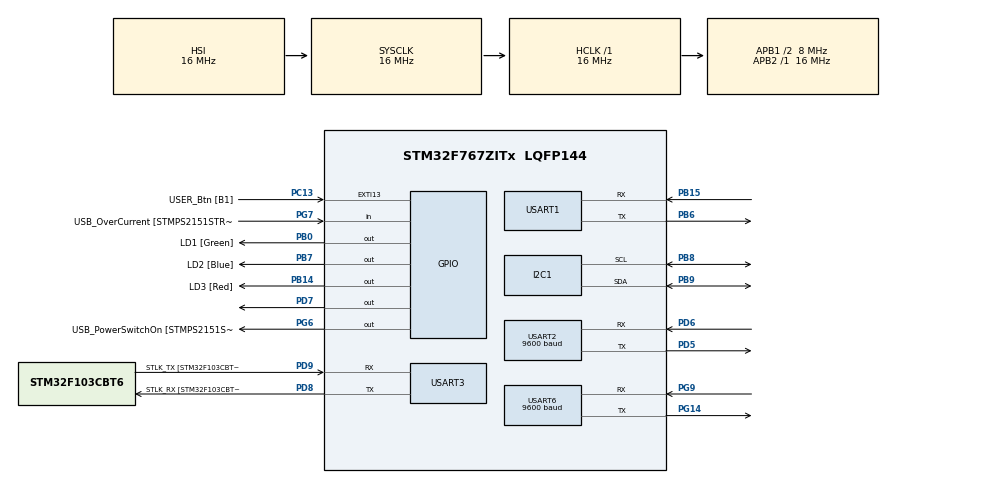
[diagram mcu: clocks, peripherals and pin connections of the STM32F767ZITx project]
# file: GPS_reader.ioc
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I2C1.Timing=0x2000090E
Mcu.Family=STM32F7
Mcu.Name=STM32F767ZITx
Mcu.Package=LQFP144
NVIC.PriorityGroup=NVIC_PRIORITYGROUP_4
NVIC.USART2_IRQn=true\:0\:0\:false\:false\:true\:true\:true\:true
NVIC.USART6_IRQn=true\:0\:0\:false\:false\:true\:true\:true\:true
PA1.GPIO_Label=RMII_REF_CLK [LAN8742A-CZ-TR_REFCLK0]
PA1.Signal=ETH_REF_CLK
PA10.GPIO_Label=USB_ID
PA10.Signal=USB_OTG_FS_ID
PA11.GPIO_Label=USB_DM
PA11.Signal=USB_OTG_FS_DM
PA12.GPIO_Label=USB_DP
PA12.Signal=USB_OTG_FS_DP
PA13.GPIO_Label=TMS
PA13.Signal=SYS_JTMS-SWDIO
PA14.GPIO_Label=TCK
PA14.Signal=SYS_JTCK-SWCLK
PA2.GPIO_Label=RMII_MDIO [LAN8742A-CZ-TR_MDIO]
PA2.Signal=ETH_MDIO
PA7.GPIO_Label=RMII_CRS_DV [LAN8742A-CZ-TR_CRS_DV]
PA7.Signal=ETH_CRS_DV
PA8.GPIO_Label=USB_SOF [TP1]
PA8.Signal=USB_OTG_FS_SOF
PA9.GPIO_Label=USB_VBUS
PA9.Signal=USB_OTG_FS_VBUS
PB0.GPIO_Label=LD1 [Green]
PB0.Signal=GPIO_Output
PB13.GPIO_Label=RMII_TXD1 [LAN8742A-CZ-TR_TXD1]
PB13.Signal=ETH_TXD1
PB14.GPIO_Label=LD3 [Red]
PB14.Signal=GPIO_Output
PB15.Mode=Asynchronous
PB15.Signal=USART1_RX
PB3.GPIO_Label=SW0
PB3.Signal=SYS_JTDO-SWO
PB6.Mode=Asynchronous
PB6.Signal=USART1_TX
PB7.GPIO_Label=LD2 [Blue]
PB7.Signal=GPIO_Output
PB8.Mode=I2C
PB8.Signal=I2C1_SCL
PB9.Mode=I2C
PB9.Signal=I2C1_SDA
PC1.GPIO_Label=RMII_MDC [LAN8742A-CZ-TR_MDC]
PC1.Signal=ETH_MDC
PC10.Signal=UART4_TX
PC11.Signal=UART4_RX
PC13.GPIO_Label=USER_Btn [B1]
PC13.Signal=GPXTI13
PC14/OSC32_IN.Signal=RCC_OSC32_IN
PC15/OSC32_OUT.Signal=RCC_OSC32_OUT
PC4.GPIO_Label=RMII_RXD0 [LAN8742A-CZ-TR_RXD0]
PC4.Signal=ETH_RXD0
PC5.GPIO_Label=RMII_RXD1 [LAN8742A-CZ-TR_RXD1]
PC5.Signal=ETH_RXD1
PD5.Mode=Asynchronous
PD5.Signal=USART2_TX
PD6.Mode=Asynchronous
PD6.Signal=USART2_RX
PD7.Signal=GPIO_Output
PD8.GPIO_Label=STLK_RX [STM32F103CBT6_PA3]
PD8.Mode=Asynchronous
PD8.Signal=USART3_TX
PD9.GPIO_Label=STLK_TX [STM32F103CBT6_PA2]
PD9.Mode=Asynchronous
PD9.Signal=USART3_RX
PG11.GPIO_Label=RMII_TX_EN [LAN8742A-CZ-TR_TXEN]
PG11.Signal=ETH_TX_EN
PG13.GPIO_Label=RMII_TXD0 [LAN8742A-CZ-TR_TXD0]
PG13.Signal=ETH_TXD0
PG14.GPIO_PuPd=GPIO_PULLUP
PG14.Mode=Asynchronous
PG14.Signal=USART6_TX
PG6.GPIO_Label=USB_PowerSwitchOn [STMPS2151STR_EN]
PG6.Signal=GPIO_Output
PG7.GPIO_Label=USB_OverCurrent [STMPS2151STR_FAULT]
PG7.Signal=GPIO_Input
PG9.GPIO_PuPd=GPIO_PULLUP
PG9.Mode=Asynchronous
PG9.Signal=USART6_RX
PH0/OSC_IN.GPIO_Label=MCO [STM32F103CBT6_PA8]
PH0/OSC_IN.Signal=RCC_OSC_IN
PH1/OSC_OUT.Signal=RCC_OSC_OUT
ProjectManager.HeapSize=0x200
ProjectManager.StackSize=0x400
ProjectManager.TargetToolchain=STM32CubeIDE
RCC.48MHZClocksFreq_Value=24000000
RCC.AHBFreq_Value=16000000
RCC.APB1CLKDivider=RCC_HCLK_DIV2
RCC.APB1Freq_Value=8000000
RCC.APB1TimFreq_Value=16000000
RCC.APB2Freq_Value=16000000
RCC.APB2TimFreq_Value=16000000
RCC.CortexFreq_Value=16000000
RCC.HCLKFreq_Value=16000000
RCC.HSE_VALUE=16000000
RCC.HSI_VALUE=16000000
RCC.LSE_VALUE=32768
RCC.PLLMUL=RCC_PLL_MUL9
RCC.PRESCALERUSB=RCC_USBCLKSOURCE_PLL_DIV1_5
RCC.SYSCLKFreq_VALUE=16000000
RCC.SYSCLKSourceVirtual=RCC_SYSCLKSOURCE_PLLCLK
RCC.USBFreq_Value=96000000
RCC.VCOOutputFreq_Value=192000000
USART1.VirtualMode-Asynchronous=VM_ASYNC
USART2.BaudRate=9600
USART2.VirtualMode-Asynchronous=VM_ASYNC
USART3.VirtualMode-Asynchronous=VM_ASYNC
USART6.BaudRate=9600
USART6.VirtualMode-Asynchronous=VM_ASYNC
board=NUCLEO-F767ZI

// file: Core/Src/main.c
/* USER CODE BEGIN Header */
/**
  ******************************************************************************
  * @file           : main.c
  * @brief          : Main program body
  ******************************************************************************
  * @attention
  *
  * Copyright (c) 2026 STMicroelectronics.
  * All rights reserved.
  *
  * This software is licensed under terms that can be found in the LICENSE file
  * in the root directory of this software component.
  * If no LICENSE file comes with this software, it is provided AS-IS.
  *
  ******************************************************************************
  */
/* USER CODE END Header */
#include "main.h"

/* USER CODE BEGIN Includes */
#include "string.h"
#include "stdlib.h"
#include "stdio.h"
/* USER CODE END Includes */

/* USER CODE BEGIN PTD */
typedef struct {
    double latitude;
    double longitude;
    float  speed_kmh;
    int    satellites;
    int    fix_valid;
} GNSS_Data_t;

GNSS_Data_t gnss_data;
/* USER CODE END PTD */

/* USER CODE BEGIN PD */
#define NMEA_MAX_LEN 128

#define IMU_ADDR (0x6B << 1)
/* USER CODE END PD */

I2C_HandleTypeDef hi2c1;

UART_HandleTypeDef huart1;
UART_HandleTypeDef huart2;
UART_HandleTypeDef huart3;
UART_HandleTypeDef huart6;

/* USER CODE BEGIN PV */
uint8_t rx_byte_gps; // Il singolo byte che riceveremo

uint8_t g_gnss_byte; // Singolo byte ricevuto
char nmea_buffer[NMEA_MAX_LEN];
uint8_t idx = 0;
int debug = 0;

uint8_t data[6];
int16_t x, y, z = 90;

/* USER CODE END PV */

void SystemClock_Config(void);
static void MX_GPIO_Init(void);
static void MX_USART3_UART_Init(void);
static void MX_USART6_UART_Init(void);
static void MX_USART1_UART_Init(void);
static void MX_USART2_UART_Init(void);
static void MX_I2C1_Init(void);

/* USER CODE BEGIN 0 */
float convert_to_decimal(char *coord, char dir)
{
    float val = atof(coord);

    int degrees = (int)(val / 100);
    float minutes = val - (degrees * 100);

    float decimal = degrees + (minutes / 60.0);

    if (dir == 'S' || dir == 'W')
        decimal = -decimal;

    return decimal;
}
double latitude = 0.0;
double longitude = 0.0;
float  speed_kmh = 0.0;
float  altitude = 0.0;
int    satellites = 0;

// Funzione interna per estrarre i campi senza rompere nulla
static const char* get_field(const char* p, int field_num) {
    for (int i = 0; i < field_num && p; i++) {
        p = strchr(p, ',');
        if (p) p++;
    }
    return p;
}

void parse_nmea(char *sentence) {
    if (sentence[0] != '$') return;

    // --- PARSING GGA (Satelliti) ---
    if (strstr(sentence, "GGA")) {
        int comma = 0;
        for (char *p = sentence; *p != '\0'; p++) {
            if (*p == ',') {
                comma++;
                char *data = p + 1;

                if (comma == 7) { // Numero satelliti
                    satellites = (int)strtol(data, NULL, 10);
                }
                if (comma == 9) { // Altitudine (Metri sul livello del mare)
                    if (*data != ',') {
                        altitude = strtof(data, NULL);
                    }
                    break; // Possiamo uscire dal ciclo
                }
            }
        }
    }

    // --- PARSING RMC (Lat, Lon, Speed) ---
    if (strstr(sentence, "RMC")) {
        int comma = 0;
        for (char *p = sentence; *p != '\0'; p++) {
            if (*p == ',') {
                comma++;
                char *data = p + 1;
                switch (comma) {
                    case 2: if (*data == 'V') return; break;
                    case 3: if (*data != ',') {
                                double raw = strtod(data, NULL);
                                int deg = (int)(raw / 100);
                                latitude = deg + (raw - deg * 100) / 60.0;
                            } break;
                    case 4: if (*data == 'S') latitude = -latitude; break;
                    case 5: if (*data != ',') {
                                double raw = strtod(data, NULL);
                                int deg = (int)(raw / 100);
                                longitude = deg + (raw - deg * 100) / 60.0;
                            } break;
                    case 6: if (*data == 'W') longitude = -longitude; break;
                    case 7: if (*data != ',') speed_kmh = (float)strtod(data, NULL) * 1.85f; break;
                }
            }
        }
    }
    // NOTA: Ho tolto tutte le sprintf e HAL_UART_Transmit da qui!
}
/* USER CODE END 0 */

int main(void)
{

  /* USER CODE BEGIN 1 */

	HAL_Init();
	  SystemClock_Config();

	  // 1. PRIMA di MX_GPIO_Init e MX_USART6_Init
	  // Forza PG14 in INPUT senza pull-up (Alta Impedenza)
	  __HAL_RCC_GPIOG_CLK_ENABLE();
	  GPIO_InitTypeDef GPIO_InitStruct = {0};
	  GPIO_InitStruct.Pin = GPIO_PIN_14;
	  GPIO_InitStruct.Mode = GPIO_MODE_INPUT;
	  GPIO_InitStruct.Pull = GPIO_NOPULL;
	  HAL_GPIO_Init(GPIOG, &GPIO_InitStruct);

	  // 2. ASPETTA. Dai al GNSS il tempo di finire il boot elettrico
	  HAL_Delay(3000);

  /* USER CODE END 1 */

  /* MCU Configuration--------------------------------------------------------*/

  /* Reset of all peripherals, Initializes the Flash interface and the Systick. */
  HAL_Init();

  /* Configure the system clock */
  SystemClock_Config();

  /* Initialize all configured peripherals */
  MX_GPIO_Init();
  MX_USART3_UART_Init();
  MX_USART6_UART_Init();
  MX_USART1_UART_Init();
  MX_USART2_UART_Init();
  MX_I2C1_Init();
  /* USER CODE BEGIN 2 */
  uint8_t who = 0;

  HAL_I2C_Mem_Read(&hi2c1,
                   IMU_ADDR,
                   0x0F,
                   I2C_MEMADD_SIZE_8BIT,
                   &who,
                   1,
                   100);

  char msg[50];
  sprintf(msg, "WHO_AM_I = 0x%02X\r\n", who);
  HAL_UART_Transmit(&huart3, (uint8_t*)msg, strlen(msg), 100);
  uint8_t rst = 0x01;
  HAL_I2C_Mem_Write(&hi2c1, IMU_ADDR, 0x12, 1, &rst, 1, 100);
  HAL_Delay(50);
  if (HAL_I2C_IsDeviceReady(&hi2c1, IMU_ADDR, 5, 100) == HAL_OK)
  {
      uint8_t data2;

      // Accel ON
      data2 = 0x40;
      HAL_I2C_Mem_Write(&hi2c1, IMU_ADDR, 0x10, I2C_MEMADD_SIZE_8BIT, &data2, 1, 100);

      // Gyro ON
      data2 = 0x40;
      HAL_I2C_Mem_Write(&hi2c1, IMU_ADDR, 0x11, I2C_MEMADD_SIZE_8BIT, &data2, 1, 100);

      HAL_Delay(50);

      HAL_GPIO_WritePin(GPIOB, LD2_Pin, GPIO_PIN_SET);
  }

  __HAL_UART_CLEAR_IT(&huart2, UART_CLEAR_OREF | UART_CLEAR_NEF | UART_CLEAR_FEF);
  HAL_UART_Receive(&huart2, &g_gnss_byte, 1, 10); // Leggi un byte a vuoto per sbloccare
  HAL_UART_Receive_IT(&huart6, &g_gnss_byte, 1);  // Ora abilita davvero
  HAL_GPIO_WritePin(GPIOB, LD2_Pin, GPIO_PIN_SET);
  char *test_msg = "\r\n--- STM32 F767ZI Ready ---\r\n";
  HAL_UART_Transmit(&huart3, (uint8_t*)test_msg, strlen(test_msg), 100);
  // Avvia la ricezione a interrupt (per 1 solo byte)
  HAL_GPIO_WritePin(GPIOD, GPIO_PIN_7, GPIO_PIN_SET);
  HAL_Delay(100);
  HAL_GPIO_WritePin(GPIOD, GPIO_PIN_7, GPIO_PIN_RESET); // Impulso di sveglia
  HAL_Delay(100);
  for(int i = 0; i<10; i++){
	  HAL_GPIO_WritePin(GPIOD, GPIO_PIN_7, GPIO_PIN_SET);
	  HAL_Delay(100);
	  HAL_GPIO_WritePin(GPIOD, GPIO_PIN_7, GPIO_PIN_RESET); // Impulso di sveglia
	  HAL_Delay(100);
  }
  HAL_Delay(500); // Aspetta che il GNSS digerisca lo stimolo
  HAL_UART_Receive_IT(&huart6, &rx_byte_gps, 1);
  /* USER CODE END 2 */

  /* Infinite loop */
  /* USER CODE BEGIN WHILE */
  while (1)
  {
	  if(satellites > 0){
		  	  char msg[120];
		  	if (HAL_I2C_IsDeviceReady(&hi2c1, IMU_ADDR, 5, 100) == HAL_OK)
		  	{
		  	    uint8_t data_acc[6];
		  	    uint8_t data_gyro[6];
		  	    char msg[120];

		  	    // ======================
		  	    // ACCELEROMETRO (0x28)
		  	    // ======================
		  	    HAL_I2C_Mem_Read(&hi2c1,
		  	                     IMU_ADDR,
		  	                     0x28 | 0x80,
		  	                     I2C_MEMADD_SIZE_8BIT,
		  	                     data_acc,
		  	                     6,
		  	                     100);

		  	    int16_t ax = (int16_t)(data_acc[0] | (data_acc[1] << 8));
		  	    int16_t ay = (int16_t)(data_acc[2] | (data_acc[3] << 8));
		  	    int16_t az = (int16_t)(data_acc[4] | (data_acc[5] << 8));

		  	    // ======================
		  	    // GIROSCOPIO (0x22)
		  	    // ======================
		  	    HAL_I2C_Mem_Read(&hi2c1,
		  	                     IMU_ADDR,
		  	                     0x22 | 0x80,
		  	                     I2C_MEMADD_SIZE_8BIT,
		  	                     data_gyro,
		  	                     6,
		  	                     100);

		  	    int16_t gx = (int16_t)(data_gyro[0] | (data_gyro[1] << 8));
		  	    int16_t gy = (int16_t)(data_gyro[2] | (data_gyro[3] << 8));
		  	    int16_t gz = (int16_t)(data_gyro[4] | (data_gyro[5] << 8));

		  	    // ======================
		  	    // OUTPUT UNICO
		  	    // ======================
		  	    if(debug){
		  	    sprintf(msg,
		  	            "ACC:%d,%d,%d | GYRO:%d,%d,%d\r\n",
		  	            ax, ay, az, gx, gy, gz);
		  	    } else{
			  	    sprintf(msg,
			  	            "%d,%d,%d,%d,%d,%d\r\n",
			  	            ax, ay, az, gx, gy, gz);
		  	    }
		  	    HAL_UART_Transmit(&huart3, (uint8_t*)msg, strlen(msg), 100);

		  	    HAL_Delay(100);

		  	}

		  	else{
				  char *test_msg = "\r\n--- STA ANDANDO TUTTO MALE ---\r\n";
				  HAL_UART_Transmit(&huart3, (uint8_t*)test_msg, strlen(test_msg), 100);
		  	}

	      int lat_i = (int)latitude;
	      int lat_d = (long)fabs((latitude - lat_i) * 1000000);
	      int lon_i = (int)longitude;
	      int lon_d = (long)fabs((longitude - lon_i) * 1000000);
	      int speed_int = (int)speed_kmh;
	      int speed_dec = (int)((speed_kmh - speed_int) * 10); // due decimali
	      int alt_int = (int)altitude;
	      int alt_dec = (int)(altitude - alt_int * 1);
	      if(debug == 1){
	      sprintf(msg, "LAT:%d.%06d LON:%d.%06d ALT:%d.%d SPD:%d.%d km/h SAT:%d\r\n\n",
	              lat_i, lat_d, lon_i, lon_d, alt_int, alt_dec, speed_int, speed_dec, satellites);
	      }
	      else{
	    	  sprintf(msg, "%d.%06d,%d.%06d,%d.%d,%d.2%d,%d\r\n",
	    	  	              lat_i, lat_d, lon_i, lon_d, alt_int, alt_dec, speed_int, speed_dec, satellites);
	    	  	      }

	      HAL_UART_Transmit(&huart3, (uint8_t*)msg, strlen(msg), 100);

	      HAL_Delay(500); // Questo delay nel main NON blocca l'interrupt!

	  }
	  else{
		  char *test_msg = "\r\n--- PROBLEMA, STACCA E ATTACCA IL TX PD5 ---\r\n";
		  HAL_UART_Transmit(&huart3, (uint8_t*)test_msg, strlen(test_msg), 100);
		  HAL_Delay(500);

	  }
//	  uint8_t buffer;
//	      HAL_StatusTypeDef status;
//	      uint32_t err;
//	      char *test_msg = "\r\n PROVA \r\n";
//	      HAL_UART_Transmit(&huart4, (uint8_t*)test_msg, strlen(test_msg), 100);
//	      	 //HAL_Delay(1000);
//	      // 1. Leggiamo un byte con un timeout di 1 secondo
//	      status = HAL_UART_Receive(&huart4, &buffer, 1, 1000);
//
//	      // 2. Analizziamo il risultato della ricezione
//	      if (1)
//	      {
//	          // RICEZIONE CORRETTA: Lampeggio blu e invio al PC
//	          HAL_GPIO_TogglePin(GPIOB, LD2_Pin);
//	          HAL_UART_Transmit(&huart3, &buffer, 1, 10);
//	      }
//	      else if (status == HAL_TIMEOUT)
//	      {
//	          // TIMEOUT: Nessun dato arrivato in 1 secondo
//	          char *msg = "Status: TIMEOUT (Nessun segnale su RX)\r\n";
//	          HAL_UART_Transmit(&huart3, (uint8_t*)msg, strlen(msg), 100);
//	          HAL_GPIO_WritePin(GPIOB, LD3_Pin, GPIO_PIN_RESET); // Spegne rosso se era acceso
//	      }
//	      else if (status == HAL_ERROR)
//	      {
//	          // ERRORE HARDWARE: Qualcosa è andato storto elettricamente
//	          err = HAL_UART_GetError(&huart4);
//	          char err_msg[64];
//
//	          if (err & HAL_UART_ERROR_ORE)
//	              sprintf(err_msg, "Errore: OVERRUN (Dati troppo veloci)\r\n");
//	          else if (err & HAL_UART_ERROR_NE)
//	              sprintf(err_msg, "Errore: NOISE (Disturbo elettrico)\r\n");
//	          else if (err & HAL_UART_ERROR_FE)
//	              sprintf(err_msg, "Errore: FRAMING (Baud rate sbagliato?)\r\n");
//	          else
//	              sprintf(err_msg, "Errore: Codice %lu\r\n", err);
//
//	          HAL_UART_Transmit(&huart3, (uint8_t*)err_msg, strlen(err_msg), 100);
//	          HAL_GPIO_WritePin(GPIOB, LD3_Pin, GPIO_PIN_SET); // Accendi LED Rosso (LD3)
//
//	          // Reset della UART per riprovare
//	          HAL_UART_AbortReceive(&huart4);
//	          __HAL_UART_CLEAR_IT(&huart6, UART_CLEAR_OREF | UART_CLEAR_NEF | UART_CLEAR_FEF);
//	      }
//	      else if (status == HAL_BUSY)
//	      {
//	          // BUSY: La periferica è bloccata in un'altra operazione
//	          char *msg = "Status: BUSY\r\n";
//	          HAL_UART_Transmit(&huart3, (uint8_t*)msg, strlen(msg), 100);
//	      }
//	  uint8_t test_byte = 'X';
//	  uint8_t rx_byte = 0;
//
//	  // Send 'X'
//	  HAL_UART_Transmit(&huart4, &test_byte, 1, 10);
//
//	  // Try to catch it immediately (no delay!)
//	  if (HAL_UART_Receive(&huart4, &rx_byte, 1, 10) == HAL_OK) {
//	      if (rx_byte == 'X') {
//	          HAL_GPIO_TogglePin(GPIOB, LD2_Pin); // BLINK BLUE = BOARD IS FINE
//	          char *test_msg = "\r\n--- FUNZIONA ---\r\n";
//	          HAL_UART_Transmit(&huart3, (uint8_t*)test_msg , strlen(test_msg), 100);
//	      }
//	  }
//	  HAL_Delay(100);

//		  if (HAL_UART_Receive(&huart2, &c, 1, 100) == HAL_OK)
//		      {
//		          // 1. SINCRONIZZAZIONE: Se arriva $, ricomincia da zero!
//		          if (c == '$')
//		          {
//		              idx = 0;
//		          }
//
//		          if (c == '\n')
//		          {
//		              nmea_buffer[idx] = '\0';
//		              // Non resettare idx qui, o meglio, l'if('$') lo farà per la prossima
//		              char *test_msg = "\r\n--- SONO QUI ---\r\n";
//		              HAL_UART_Transmit(&huart3, (uint8_t*)test_msg , strlen(test_msg), 100);
//		              //parse_nmea(nmea_buffer);
//		          }
//		          else
//		          {
//		              if (idx < NMEA_MAX_LEN - 1)
//		              {
//		                  nmea_buffer[idx++] = c;
//		              }
//		          }
//
//		          // Mantieni pure questo per vedere i dati grezzi sul PC
//		          HAL_UART_Transmit(&huart3, &c, 1, 100);
//		      }

    /* USER CODE END WHILE */

  }
}

void SystemClock_Config(void)
{
  RCC_OscInitTypeDef RCC_OscInitStruct = {0};
  RCC_ClkInitTypeDef RCC_ClkInitStruct = {0};

  /** Configure the main internal regulator output voltage
  */
  __HAL_RCC_PWR_CLK_ENABLE();
  __HAL_PWR_VOLTAGESCALING_CONFIG(PWR_REGULATOR_VOLTAGE_SCALE3);

  /** Initializes the RCC Oscillators according to the specified parameters
  * in the RCC_OscInitTypeDef structure.
  */
  RCC_OscInitStruct.OscillatorType = RCC_OSCILLATORTYPE_HSI;
  RCC_OscInitStruct.HSIState = RCC_HSI_ON;
  RCC_OscInitStruct.HSICalibrationValue = RCC_HSICALIBRATION_DEFAULT;
  RCC_OscInitStruct.PLL.PLLState = RCC_PLL_NONE;
  if (HAL_RCC_OscConfig(&RCC_OscInitStruct) != HAL_OK)
  {
    Error_Handler();
  }

  /** Initializes the CPU, AHB and APB buses clocks
  */
  RCC_ClkInitStruct.ClockType = RCC_CLOCKTYPE_HCLK|RCC_CLOCKTYPE_SYSCLK
                              |RCC_CLOCKTYPE_PCLK1|RCC_CLOCKTYPE_PCLK2;
  RCC_ClkInitStruct.SYSCLKSource = RCC_SYSCLKSOURCE_HSI;
  RCC_ClkInitStruct.AHBCLKDivider = RCC_SYSCLK_DIV1;
  RCC_ClkInitStruct.APB1CLKDivider = RCC_HCLK_DIV2;
  RCC_ClkInitStruct.APB2CLKDivider = RCC_HCLK_DIV1;

  if (HAL_RCC_ClockConfig(&RCC_ClkInitStruct, FLASH_LATENCY_0) != HAL_OK)
  {
    Error_Handler();
  }
}

static void MX_I2C1_Init(void)
{

  hi2c1.Instance = I2C1;
  hi2c1.Init.Timing = 0x2000090E;
  hi2c1.Init.OwnAddress1 = 0;
  hi2c1.Init.AddressingMode = I2C_ADDRESSINGMODE_7BIT;
  hi2c1.Init.DualAddressMode = I2C_DUALADDRESS_DISABLE;
  hi2c1.Init.OwnAddress2 = 0;
  hi2c1.Init.OwnAddress2Masks = I2C_OA2_NOMASK;
  hi2c1.Init.GeneralCallMode = I2C_GENERALCALL_DISABLE;
  hi2c1.Init.NoStretchMode = I2C_NOSTRETCH_DISABLE;
  if (HAL_I2C_Init(&hi2c1) != HAL_OK)
  {
    Error_Handler();
  }

  /** Configure Analogue filter
  */
  if (HAL_I2CEx_ConfigAnalogFilter(&hi2c1, I2C_ANALOGFILTER_ENABLE) != HAL_OK)
  {
    Error_Handler();
  }

  /** Configure Digital filter
  */
  if (HAL_I2CEx_ConfigDigitalFilter(&hi2c1, 0) != HAL_OK)
  {
    Error_Handler();
  }

}

static void MX_USART1_UART_Init(void)
{

  huart1.Instance = USART1;
  huart1.Init.BaudRate = 115200;
  huart1.Init.WordLength = UART_WORDLENGTH_8B;
  huart1.Init.StopBits = UART_STOPBITS_1;
  huart1.Init.Parity = UART_PARITY_NONE;
  huart1.Init.Mode = UART_MODE_TX_RX;
  huart1.Init.HwFlowCtl = UART_HWCONTROL_NONE;
  huart1.Init.OverSampling = UART_OVERSAMPLING_16;
  huart1.Init.OneBitSampling = UART_ONE_BIT_SAMPLE_DISABLE;
  huart1.AdvancedInit.AdvFeatureInit = UART_ADVFEATURE_NO_INIT;
  if (HAL_UART_Init(&huart1) != HAL_OK)
  {
    Error_Handler();
  }

}

static void MX_USART2_UART_Init(void)
{

  huart2.Instance = USART2;
  huart2.Init.BaudRate = 9600;
  huart2.Init.WordLength = UART_WORDLENGTH_8B;
  huart2.Init.StopBits = UART_STOPBITS_1;
  huart2.Init.Parity = UART_PARITY_NONE;
  huart2.Init.Mode = UART_MODE_TX_RX;
  huart2.Init.HwFlowCtl = UART_HWCONTROL_NONE;
  huart2.Init.OverSampling = UART_OVERSAMPLING_16;
  huart2.Init.OneBitSampling = UART_ONE_BIT_SAMPLE_DISABLE;
  huart2.AdvancedInit.AdvFeatureInit = UART_ADVFEATURE_NO_INIT;
  if (HAL_UART_Init(&huart2) != HAL_OK)
  {
    Error_Handler();
  }

}

static void MX_USART3_UART_Init(void)
{

  huart3.Instance = USART3;
  huart3.Init.BaudRate = 115200;
  huart3.Init.WordLength = UART_WORDLENGTH_8B;
  huart3.Init.StopBits = UART_STOPBITS_1;
  huart3.Init.Parity = UART_PARITY_NONE;
  huart3.Init.Mode = UART_MODE_TX_RX;
  huart3.Init.HwFlowCtl = UART_HWCONTROL_NONE;
  huart3.Init.OverSampling = UART_OVERSAMPLING_16;
  huart3.Init.OneBitSampling = UART_ONE_BIT_SAMPLE_DISABLE;
  huart3.AdvancedInit.AdvFeatureInit = UART_ADVFEATURE_NO_INIT;
  if (HAL_UART_Init(&huart3) != HAL_OK)
  {
    Error_Handler();
  }

}

static void MX_USART6_UART_Init(void)
{

  huart6.Instance = USART6;
  huart6.Init.BaudRate = 9600;
  huart6.Init.WordLength = UART_WORDLENGTH_8B;
  huart6.Init.StopBits = UART_STOPBITS_1;
  huart6.Init.Parity = UART_PARITY_NONE;
  huart6.Init.Mode = UART_MODE_TX_RX;
  huart6.Init.HwFlowCtl = UART_HWCONTROL_NONE;
  huart6.Init.OverSampling = UART_OVERSAMPLING_16;
  huart6.Init.OneBitSampling = UART_ONE_BIT_SAMPLE_DISABLE;
  huart6.AdvancedInit.AdvFeatureInit = UART_ADVFEATURE_NO_INIT;
  if (HAL_UART_Init(&huart6) != HAL_OK)
  {
    Error_Handler();
  }

}

static void MX_GPIO_Init(void)
{
  GPIO_InitTypeDef GPIO_InitStruct = {0};

  /* GPIO Ports Clock Enable */
  __HAL_RCC_GPIOC_CLK_ENABLE();
  __HAL_RCC_GPIOH_CLK_ENABLE();
  __HAL_RCC_GPIOA_CLK_ENABLE();
  __HAL_RCC_GPIOB_CLK_ENABLE();
  __HAL_RCC_GPIOD_CLK_ENABLE();
  __HAL_RCC_GPIOG_CLK_ENABLE();

  /*Configure GPIO pin Output Level */
  HAL_GPIO_WritePin(GPIOB, LD1_Pin|LD3_Pin|LD2_Pin, GPIO_PIN_RESET);

  /*Configure GPIO pin Output Level */
  HAL_GPIO_WritePin(USB_PowerSwitchOn_GPIO_Port, USB_PowerSwitchOn_Pin, GPIO_PIN_RESET);

  /*Configure GPIO pin Output Level */
  HAL_GPIO_WritePin(GPIOD, GPIO_PIN_7, GPIO_PIN_RESET);

  /*Configure GPIO pin : USER_Btn_Pin */
  GPIO_InitStruct.Pin = USER_Btn_Pin;
  GPIO_InitStruct.Mode = GPIO_MODE_IT_RISING;
  GPIO_InitStruct.Pull = GPIO_NOPULL;
  HAL_GPIO_Init(USER_Btn_GPIO_Port, &GPIO_InitStruct);

  /*Configure GPIO pins : RMII_MDC_Pin RMII_RXD0_Pin RMII_RXD1_Pin */
  GPIO_InitStruct.Pin = RMII_MDC_Pin|RMII_RXD0_Pin|RMII_RXD1_Pin;
  GPIO_InitStruct.Mode = GPIO_MODE_AF_PP;
  GPIO_InitStruct.Pull = GPIO_NOPULL;
  GPIO_InitStruct.Speed = GPIO_SPEED_FREQ_VERY_HIGH;
  GPIO_InitStruct.Alternate = GPIO_AF11_ETH;
  HAL_GPIO_Init(GPIOC, &GPIO_InitStruct);

  /*Configure GPIO pins : RMII_REF_CLK_Pin RMII_MDIO_Pin RMII_CRS_DV_Pin */
  GPIO_InitStruct.Pin = RMII_REF_CLK_Pin|RMII_MDIO_Pin|RMII_CRS_DV_Pin;
  GPIO_InitStruct.Mode = GPIO_MODE_AF_PP;
  GPIO_InitStruct.Pull = GPIO_NOPULL;
  GPIO_InitStruct.Speed = GPIO_SPEED_FREQ_VERY_HIGH;
  GPIO_InitStruct.Alternate = GPIO_AF11_ETH;
  HAL_GPIO_Init(GPIOA, &GPIO_InitStruct);

  /*Configure GPIO pins : LD1_Pin LD3_Pin LD2_Pin */
  GPIO_InitStruct.Pin = LD1_Pin|LD3_Pin|LD2_Pin;
  GPIO_InitStruct.Mode = GPIO_MODE_OUTPUT_PP;
  GPIO_InitStruct.Pull = GPIO_NOPULL;
  GPIO_InitStruct.Speed = GPIO_SPEED_FREQ_LOW;
  HAL_GPIO_Init(GPIOB, &GPIO_InitStruct);

  /*Configure GPIO pin : RMII_TXD1_Pin */
  GPIO_InitStruct.Pin = RMII_TXD1_Pin;
  GPIO_InitStruct.Mode = GPIO_MODE_AF_PP;
  GPIO_InitStruct.Pull = GPIO_NOPULL;
  GPIO_InitStruct.Speed = GPIO_SPEED_FREQ_VERY_HIGH;
  GPIO_InitStruct.Alternate = GPIO_AF11_ETH;
  HAL_GPIO_Init(RMII_TXD1_GPIO_Port, &GPIO_InitStruct);

  /*Configure GPIO pin : USB_PowerSwitchOn_Pin */
  GPIO_InitStruct.Pin = USB_PowerSwitchOn_Pin;
  GPIO_InitStruct.Mode = GPIO_MODE_OUTPUT_PP;
  GPIO_InitStruct.Pull = GPIO_NOPULL;
  GPIO_InitStruct.Speed = GPIO_SPEED_FREQ_LOW;
  HAL_GPIO_Init(USB_PowerSwitchOn_GPIO_Port, &GPIO_InitStruct);

  /*Configure GPIO pin : USB_OverCurrent_Pin */
  GPIO_InitStruct.Pin = USB_OverCurrent_Pin;
  GPIO_InitStruct.Mode = GPIO_MODE_INPUT;
  GPIO_InitStruct.Pull = GPIO_NOPULL;
  HAL_GPIO_Init(USB_OverCurrent_GPIO_Port, &GPIO_InitStruct);

  /*Configure GPIO pins : USB_SOF_Pin USB_ID_Pin USB_DM_Pin USB_DP_Pin */
  GPIO_InitStruct.Pin = USB_SOF_Pin|USB_ID_Pin|USB_DM_Pin|USB_DP_Pin;
  GPIO_InitStruct.Mode = GPIO_MODE_AF_PP;
  GPIO_InitStruct.Pull = GPIO_NOPULL;
  GPIO_InitStruct.Speed = GPIO_SPEED_FREQ_VERY_HIGH;
  GPIO_InitStruct.Alternate = GPIO_AF10_OTG_FS;
  HAL_GPIO_Init(GPIOA, &GPIO_InitStruct);

  /*Configure GPIO pin : USB_VBUS_Pin */
  GPIO_InitStruct.Pin = USB_VBUS_Pin;
  GPIO_InitStruct.Mode = GPIO_MODE_INPUT;
  GPIO_InitStruct.Pull = GPIO_NOPULL;
  HAL_GPIO_Init(USB_VBUS_GPIO_Port, &GPIO_InitStruct);

  /*Configure GPIO pins : PC10 PC11 */
  GPIO_InitStruct.Pin = GPIO_PIN_10|GPIO_PIN_11;
  GPIO_InitStruct.Mode = GPIO_MODE_AF_PP;
  GPIO_InitStruct.Pull = GPIO_NOPULL;
  GPIO_InitStruct.Speed = GPIO_SPEED_FREQ_VERY_HIGH;
  GPIO_InitStruct.Alternate = GPIO_AF8_UART4;
  HAL_GPIO_Init(GPIOC, &GPIO_InitStruct);

  /*Configure GPIO pin : PD7 */
  GPIO_InitStruct.Pin = GPIO_PIN_7;
  GPIO_InitStruct.Mode = GPIO_MODE_OUTPUT_PP;
  GPIO_InitStruct.Pull = GPIO_NOPULL;
  GPIO_InitStruct.Speed = GPIO_SPEED_FREQ_LOW;
  HAL_GPIO_Init(GPIOD, &GPIO_InitStruct);

  /*Configure GPIO pins : RMII_TX_EN_Pin RMII_TXD0_Pin */
  GPIO_InitStruct.Pin = RMII_TX_EN_Pin|RMII_TXD0_Pin;
  GPIO_InitStruct.Mode = GPIO_MODE_AF_PP;
  GPIO_InitStruct.Pull = GPIO_NOPULL;
  GPIO_InitStruct.Speed = GPIO_SPEED_FREQ_VERY_HIGH;
  GPIO_InitStruct.Alternate = GPIO_AF11_ETH;
  HAL_GPIO_Init(GPIOG, &GPIO_InitStruct);

}

/* USER CODE BEGIN 4 */
// Questa funzione viene chiamata AUTOMATICAMENTE ogni volta che arriva un byte
void HAL_UART_RxCpltCallback(UART_HandleTypeDef *huart) {
    if (huart->Instance == USART6) { // Sostituisci con la tua istanza (es. USART2)
    	//HAL_UART_Transmit(&huart3, &g_gnss_byte	, 1, 100);
        // 1. Sincronizzazione immediata
        if (g_gnss_byte == '$') {
            idx = 0;
        }

        if (idx < 127) {
            nmea_buffer[idx++] = g_gnss_byte;

            // 2. Fine stringa: chiamiamo il parser
            if (g_gnss_byte == '\n') {
                nmea_buffer[idx] = '\0';
                parse_nmea(nmea_buffer);
                idx = 0;
            }
        } else {
            idx = 0; // Protezione overflow
        }

        // 3. RIATTIVA l'interrupt per il prossimo byte
        HAL_UART_Receive_IT(&huart6, &g_gnss_byte, 1);
    }
}
/* USER CODE END 4 */

void Error_Handler(void)
{
  __disable_irq();
  while (1)
  {
  }
}
